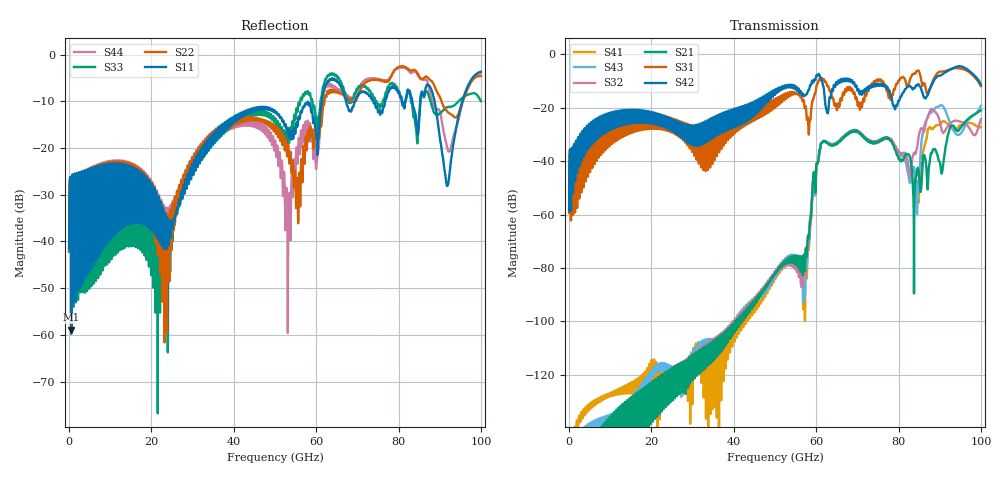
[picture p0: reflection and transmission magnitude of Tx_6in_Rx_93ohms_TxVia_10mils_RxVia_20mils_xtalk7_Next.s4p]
! Info: Touchstone file created by Circ.  Input file=Tx_6in_Rx_93ohms_TxVia_10mils_RxVia_20mils.circ
# Hz S RI R 50
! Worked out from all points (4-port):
!   10000 points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, 10 MHz to 100 GHz, reference 50 ohm
!   strongest paths, dB at 10 MHz, 25.01 GHz, 50.01 GHz, 75.01 GHz, 100 GHz:
!     S42: -58.6, -28.1, -15.2, -11.2, -11.4
!     S31: -59.3, -28.1, -20.1, -9.6, -11.9
!     S21: -, -120.3, -82.2, -32.5, -21.0
!     S32: -, -121.8, -82.2, -32.2, -24.3
!     S43: -153.7, -119.5, -82.7, -32.3, -19.3
!     S41: -153.8, -117.7, -84.0, -32.7, -27.4
!   lowest |S11| = -58.9 dB at 540 MHz (marker M1), VSWR 1.00, Z = 49.9 + j0.0188 ohm
!   |S11| at or under -10 dB: start of sweep to 61.43 GHz; 73.84 GHz to 76.74 GHz (2.903 GHz wide, 3.86 % of centre); 88.75 GHz to 95.5 GHz (6.75 GHz wide, 7.33 % of centre)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
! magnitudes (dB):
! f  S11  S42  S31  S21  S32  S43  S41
! 10 MHz  -41.6  -58.6  -59.3  -  -  -153.7  -153.8
! 540 MHz  -58.9  -42.4  -42.5  -175.5  -170.2  -163.1  -150.2
! 23.6 GHz  -41.6  -23.3  -23.2  -126.0  -119.9  -118.0  -128.1
! 56.89 GHz  -11.2  -15.4  -17.1  -77.6  -79.6  -87.1  -88.0
! 61.63 GHz  -8.5  -11.4  -9.4  -32.6  -32.6  -32.6  -32.6
! 84.52 GHz  -16.5  -11.6  -6.2  -43.2  -34.9  -59.3  -51.4
! 100 GHz  -3.7  -11.4  -11.9  -21.0  -24.3  -19.3  -27.4
